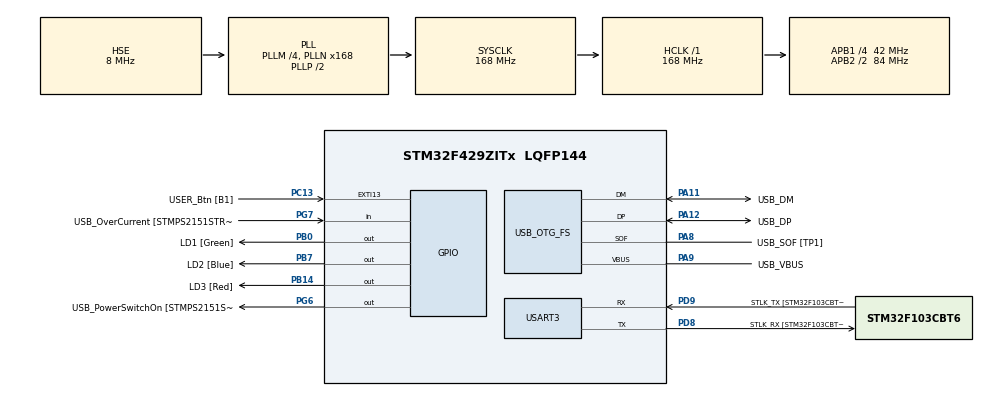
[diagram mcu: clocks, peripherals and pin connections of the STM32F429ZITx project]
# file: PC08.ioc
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Mcu.Family=STM32F4
Mcu.Name=STM32F429ZITx
Mcu.Package=LQFP144
NVIC.OTG_FS_IRQn=true\:0\:0\:false\:false\:true\:false\:true\:true
NVIC.PriorityGroup=NVIC_PRIORITYGROUP_4
PA1.GPIO_Label=RMII_REF_CLK [LAN8742A-CZ-TR_REFCLK0]
PA1.Signal=ETH_REF_CLK
PA10.GPIO_Label=USB_ID
PA10.Signal=USB_OTG_FS_ID
PA11.GPIO_Label=USB_DM
PA11.Mode=Device_Only
PA11.Signal=USB_OTG_FS_DM
PA12.GPIO_Label=USB_DP
PA12.Mode=Device_Only
PA12.Signal=USB_OTG_FS_DP
PA13.GPIO_Label=TMS
PA13.Mode=Serial_Wire
PA13.Signal=SYS_JTMS-SWDIO
PA14.GPIO_Label=TCK
PA14.Mode=Serial_Wire
PA14.Signal=SYS_JTCK-SWCLK
PA2.GPIO_Label=RMII_MDIO [LAN8742A-CZ-TR_MDIO]
PA2.Signal=ETH_MDIO
PA7.GPIO_Label=RMII_CRS_DV [LAN8742A-CZ-TR_CRS_DV]
PA7.Signal=ETH_CRS_DV
PA8.GPIO_Label=USB_SOF [TP1]
PA8.Mode=Activate_SOF_FS
PA8.Signal=USB_OTG_FS_SOF
PA9.GPIO_Label=USB_VBUS
PA9.Mode=Activate_VBUS
PA9.Signal=USB_OTG_FS_VBUS
PB0.GPIO_Label=LD1 [Green]
PB0.Signal=GPIO_Output
PB13.GPIO_Label=RMII_TXD1 [LAN8742A-CZ-TR_TXD1]
PB13.Signal=ETH_TXD1
PB14.GPIO_Label=LD3 [Red]
PB14.Signal=GPIO_Output
PB7.GPIO_Label=LD2 [Blue]
PB7.Signal=GPIO_Output
PC1.GPIO_Label=RMII_MDC [LAN8742A-CZ-TR_MDC]
PC1.Signal=ETH_MDC
PC13.GPIO_Label=USER_Btn [B1]
PC13.Signal=GPXTI13
PC14/OSC32_IN.Mode=LSE-External-Oscillator
PC14/OSC32_IN.Signal=RCC_OSC32_IN
PC15/OSC32_OUT.Mode=LSE-External-Oscillator
PC15/OSC32_OUT.Signal=RCC_OSC32_OUT
PC4.GPIO_Label=RMII_RXD0 [LAN8742A-CZ-TR_RXD0]
PC4.Signal=ETH_RXD0
PC5.GPIO_Label=RMII_RXD1 [LAN8742A-CZ-TR_RXD1]
PC5.Signal=ETH_RXD1
PD8.GPIO_Label=STLK_RX [STM32F103CBT6_PA3]
PD8.Mode=Asynchronous
PD8.Signal=USART3_TX
PD9.GPIO_Label=STLK_TX [STM32F103CBT6_PA2]
PD9.Mode=Asynchronous
PD9.Signal=USART3_RX
PG11.GPIO_Label=RMII_TX_EN [LAN8742A-CZ-TR_TXEN]
PG11.Signal=ETH_TX_EN
PG13.GPIO_Label=RMII_TXD0 [LAN8742A-CZ-TR_TXD0]
PG13.Signal=ETH_TXD0
PG6.GPIO_Label=USB_PowerSwitchOn [STMPS2151STR_EN]
PG6.Signal=GPIO_Output
PG7.GPIO_Label=USB_OverCurrent [STMPS2151STR_FAULT]
PG7.Signal=GPIO_Input
PH0/OSC_IN.GPIO_Label=MCO [STM32F103CBT6_PA8]
PH0/OSC_IN.Mode=HSE-External-Clock-Source
PH0/OSC_IN.Signal=RCC_OSC_IN
PH1/OSC_OUT.Mode=HSE-External-Clock-Source
PH1/OSC_OUT.Signal=RCC_OSC_OUT
ProjectManager.HeapSize=0x200
ProjectManager.StackSize=0x400
ProjectManager.TargetToolchain=STM32CubeIDE
RCC.48MHZClocksFreq_Value=48000000
RCC.AHBFreq_Value=168000000
RCC.APB1CLKDivider=RCC_HCLK_DIV4
RCC.APB1Freq_Value=42000000
RCC.APB1TimFreq_Value=84000000
RCC.APB2CLKDivider=RCC_HCLK_DIV2
RCC.APB2Freq_Value=84000000
RCC.APB2TimCLKDivider=2
RCC.APB2TimFreq_Value=168000000
RCC.CortexFreq_Value=168000000
RCC.HCLKFreq_Value=168000000
RCC.HSE_VALUE=8000000
RCC.HSI_VALUE=16000000
RCC.PLLM=4
RCC.PLLMUL=RCC_PLL_MUL9
RCC.PLLN=168
RCC.PLLQ=7
RCC.PRESCALERUSB=RCC_USBCLKSOURCE_PLL_DIV1_5
RCC.SYSCLKFreq_VALUE=168000000
RCC.SYSCLKSource=RCC_SYSCLKSOURCE_PLLCLK
RCC.SYSCLKSourceVirtual=RCC_SYSCLKSOURCE_PLLCLK
RCC.USBFreq_Value=48000000
RCC.VCOOutputFreq_Value=336000000
USART3.VirtualMode=VM_ASYNC
USB_DEVICE.CLASS_NAME_FS=HID
USB_DEVICE.VirtualMode-HID_FS=Hid
USB_DEVICE.VirtualModeFS=Hid_FS
USB_OTG_FS.VirtualMode=Device_Only
VP_USB_DEVICE_VS_USB_DEVICE_HID_FS.Mode=HID_FS
board=NUCLEO-F429ZI

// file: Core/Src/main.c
/* USER CODE BEGIN Header */
/**
  ******************************************************************************
  * @file           : main.c
  * @brief          : Main program body
  ******************************************************************************
  * @attention
  *
  * Copyright (c) 2025 STMicroelectronics.
  * All rights reserved.
  *
  * This software is licensed under terms that can be found in the LICENSE file
  * in the root directory of this software component.
  * If no LICENSE file comes with this software, it is provided AS-IS.
  *
  ******************************************************************************
  */
/* USER CODE END Header */
#include "main.h"
#include "usb_device.h"

/* USER CODE BEGIN Includes */
#include "usbd_hid.h"
#include "math.h"
#include <stdbool.h>
/* USER CODE END Includes */

/* USER CODE BEGIN PTD */
extern USBD_HandleTypeDef hUsbDeviceFS;

/* USER CODE END PTD */

/* USER CODE BEGIN PD */
#define pi 3.14159265359

/* USER CODE END PD */

UART_HandleTypeDef huart3;

void SystemClock_Config(void);
static void MX_GPIO_Init(void);
static void MX_USART3_UART_Init(void);

/* USER CODE BEGIN 0 */

void step(float x, float y, bool btn)
{
	uint8_t buff[4];

	buff[0] = btn?0x01:0x00; // press the left button
	buff[1] = (int32_t)(x); // shift X +10
	buff[2] = (int32_t)(-y); // shift Y -3
	buff[3] = 0; // no scroll

	USBD_HID_SendReport(&hUsbDeviceFS, buff, sizeof(buff));
	HAL_Delay(USBD_HID_GetPollingInterval(&hUsbDeviceFS));

}

void circles(float r, float nPhi, float rot){

	float x;
	float y;
	float dx;
	float dy;
	float phi;

	for(uint32_t i = 0; i <= 50; i++)
	{
		static int32_t sx;
		static int32_t sy;
		phi = (nPhi*pi/50) * i + (rot*pi);
		x = r*cosf(phi);
		y = r*sinf(phi);
		dx = x - sx;
		dy = y - sy;
		sx += dx;
		sy += dy;
		step(dx, dy, 1);
	}

	step(0, 0, 0);

}

void circle(float r)
{
	circles(r, 2, 0);
}

void move(float x, float y)
{
	step(x, y, 0);

}

void smile(float r)
{
	circles(r, 1, 1);
}

/* USER CODE END 0 */

int main(void)
{

  /* MCU Configuration--------------------------------------------------------*/

  /* Reset of all peripherals, Initializes the Flash interface and the Systick. */
  HAL_Init();

  /* Configure the system clock */
  SystemClock_Config();

  /* Initialize all configured peripherals */
  MX_GPIO_Init();
  MX_USART3_UART_Init();
  MX_USB_DEVICE_Init();

  /* Infinite loop */
  while (1)
  {

	  /* USER CODE BEGIN 3 */
	  if(HAL_GPIO_ReadPin(USER_Btn_GPIO_Port, USER_Btn_Pin))
	  {
		  circle(100);

		  move(30, 25);

		  circle(20);

		  move(50, 0);

		  circle(20);

		  move(-25, - 20);

		  step(0, 0, 1);
		  move(0, -15);
		  step(0, 0, 0);

		  move(60, 0);

		  smile(80);

	  }

  }
  /* USER CODE END 3 */
}

void SystemClock_Config(void)
{
  RCC_OscInitTypeDef RCC_OscInitStruct = {0};
  RCC_ClkInitTypeDef RCC_ClkInitStruct = {0};

  /** Configure the main internal regulator output voltage
  */
  __HAL_RCC_PWR_CLK_ENABLE();
  __HAL_PWR_VOLTAGESCALING_CONFIG(PWR_REGULATOR_VOLTAGE_SCALE1);

  /** Initializes the RCC Oscillators according to the specified parameters
  * in the RCC_OscInitTypeDef structure.
  */
  RCC_OscInitStruct.OscillatorType = RCC_OSCILLATORTYPE_HSE;
  RCC_OscInitStruct.HSEState = RCC_HSE_BYPASS;
  RCC_OscInitStruct.PLL.PLLState = RCC_PLL_ON;
  RCC_OscInitStruct.PLL.PLLSource = RCC_PLLSOURCE_HSE;
  RCC_OscInitStruct.PLL.PLLM = 4;
  RCC_OscInitStruct.PLL.PLLN = 168;
  RCC_OscInitStruct.PLL.PLLP = RCC_PLLP_DIV2;
  RCC_OscInitStruct.PLL.PLLQ = 7;
  if (HAL_RCC_OscConfig(&RCC_OscInitStruct) != HAL_OK)
  {
    Error_Handler();
  }

  /** Initializes the CPU, AHB and APB buses clocks
  */
  RCC_ClkInitStruct.ClockType = RCC_CLOCKTYPE_HCLK|RCC_CLOCKTYPE_SYSCLK
                              |RCC_CLOCKTYPE_PCLK1|RCC_CLOCKTYPE_PCLK2;
  RCC_ClkInitStruct.SYSCLKSource = RCC_SYSCLKSOURCE_PLLCLK;
  RCC_ClkInitStruct.AHBCLKDivider = RCC_SYSCLK_DIV1;
  RCC_ClkInitStruct.APB1CLKDivider = RCC_HCLK_DIV4;
  RCC_ClkInitStruct.APB2CLKDivider = RCC_HCLK_DIV2;

  if (HAL_RCC_ClockConfig(&RCC_ClkInitStruct, FLASH_LATENCY_5) != HAL_OK)
  {
    Error_Handler();
  }
}

static void MX_USART3_UART_Init(void)
{

  huart3.Instance = USART3;
  huart3.Init.BaudRate = 115200;
  huart3.Init.WordLength = UART_WORDLENGTH_8B;
  huart3.Init.StopBits = UART_STOPBITS_1;
  huart3.Init.Parity = UART_PARITY_NONE;
  huart3.Init.Mode = UART_MODE_TX_RX;
  huart3.Init.HwFlowCtl = UART_HWCONTROL_NONE;
  huart3.Init.OverSampling = UART_OVERSAMPLING_16;
  if (HAL_UART_Init(&huart3) != HAL_OK)
  {
    Error_Handler();
  }

}

static void MX_GPIO_Init(void)
{
  GPIO_InitTypeDef GPIO_InitStruct = {0};

  /* GPIO Ports Clock Enable */
  __HAL_RCC_GPIOC_CLK_ENABLE();
  __HAL_RCC_GPIOH_CLK_ENABLE();
  __HAL_RCC_GPIOA_CLK_ENABLE();
  __HAL_RCC_GPIOB_CLK_ENABLE();
  __HAL_RCC_GPIOD_CLK_ENABLE();
  __HAL_RCC_GPIOG_CLK_ENABLE();

  /*Configure GPIO pin Output Level */
  HAL_GPIO_WritePin(GPIOB, LD1_Pin|LD3_Pin|LD2_Pin, GPIO_PIN_RESET);

  /*Configure GPIO pin Output Level */
  HAL_GPIO_WritePin(USB_PowerSwitchOn_GPIO_Port, USB_PowerSwitchOn_Pin, GPIO_PIN_RESET);

  /*Configure GPIO pin : USER_Btn_Pin */
  GPIO_InitStruct.Pin = USER_Btn_Pin;
  GPIO_InitStruct.Mode = GPIO_MODE_IT_RISING;
  GPIO_InitStruct.Pull = GPIO_NOPULL;
  HAL_GPIO_Init(USER_Btn_GPIO_Port, &GPIO_InitStruct);

  /*Configure GPIO pins : RMII_MDC_Pin RMII_RXD0_Pin RMII_RXD1_Pin */
  GPIO_InitStruct.Pin = RMII_MDC_Pin|RMII_RXD0_Pin|RMII_RXD1_Pin;
  GPIO_InitStruct.Mode = GPIO_MODE_AF_PP;
  GPIO_InitStruct.Pull = GPIO_NOPULL;
  GPIO_InitStruct.Speed = GPIO_SPEED_FREQ_VERY_HIGH;
  GPIO_InitStruct.Alternate = GPIO_AF11_ETH;
  HAL_GPIO_Init(GPIOC, &GPIO_InitStruct);

  /*Configure GPIO pins : RMII_REF_CLK_Pin RMII_MDIO_Pin RMII_CRS_DV_Pin */
  GPIO_InitStruct.Pin = RMII_REF_CLK_Pin|RMII_MDIO_Pin|RMII_CRS_DV_Pin;
  GPIO_InitStruct.Mode = GPIO_MODE_AF_PP;
  GPIO_InitStruct.Pull = GPIO_NOPULL;
  GPIO_InitStruct.Speed = GPIO_SPEED_FREQ_VERY_HIGH;
  GPIO_InitStruct.Alternate = GPIO_AF11_ETH;
  HAL_GPIO_Init(GPIOA, &GPIO_InitStruct);

  /*Configure GPIO pins : LD1_Pin LD3_Pin LD2_Pin */
  GPIO_InitStruct.Pin = LD1_Pin|LD3_Pin|LD2_Pin;
  GPIO_InitStruct.Mode = GPIO_MODE_OUTPUT_PP;
  GPIO_InitStruct.Pull = GPIO_NOPULL;
  GPIO_InitStruct.Speed = GPIO_SPEED_FREQ_LOW;
  HAL_GPIO_Init(GPIOB, &GPIO_InitStruct);

  /*Configure GPIO pin : RMII_TXD1_Pin */
  GPIO_InitStruct.Pin = RMII_TXD1_Pin;
  GPIO_InitStruct.Mode = GPIO_MODE_AF_PP;
  GPIO_InitStruct.Pull = GPIO_NOPULL;
  GPIO_InitStruct.Speed = GPIO_SPEED_FREQ_VERY_HIGH;
  GPIO_InitStruct.Alternate = GPIO_AF11_ETH;
  HAL_GPIO_Init(RMII_TXD1_GPIO_Port, &GPIO_InitStruct);

  /*Configure GPIO pin : USB_PowerSwitchOn_Pin */
  GPIO_InitStruct.Pin = USB_PowerSwitchOn_Pin;
  GPIO_InitStruct.Mode = GPIO_MODE_OUTPUT_PP;
  GPIO_InitStruct.Pull = GPIO_NOPULL;
  GPIO_InitStruct.Speed = GPIO_SPEED_FREQ_LOW;
  HAL_GPIO_Init(USB_PowerSwitchOn_GPIO_Port, &GPIO_InitStruct);

  /*Configure GPIO pin : USB_OverCurrent_Pin */
  GPIO_InitStruct.Pin = USB_OverCurrent_Pin;
  GPIO_InitStruct.Mode = GPIO_MODE_INPUT;
  GPIO_InitStruct.Pull = GPIO_NOPULL;
  HAL_GPIO_Init(USB_OverCurrent_GPIO_Port, &GPIO_InitStruct);

  /*Configure GPIO pins : RMII_TX_EN_Pin RMII_TXD0_Pin */
  GPIO_InitStruct.Pin = RMII_TX_EN_Pin|RMII_TXD0_Pin;
  GPIO_InitStruct.Mode = GPIO_MODE_AF_PP;
  GPIO_InitStruct.Pull = GPIO_NOPULL;
  GPIO_InitStruct.Speed = GPIO_SPEED_FREQ_VERY_HIGH;
  GPIO_InitStruct.Alternate = GPIO_AF11_ETH;
  HAL_GPIO_Init(GPIOG, &GPIO_InitStruct);

}

void Error_Handler(void)
{
  __disable_irq();
  while (1)
  {
  }
}
